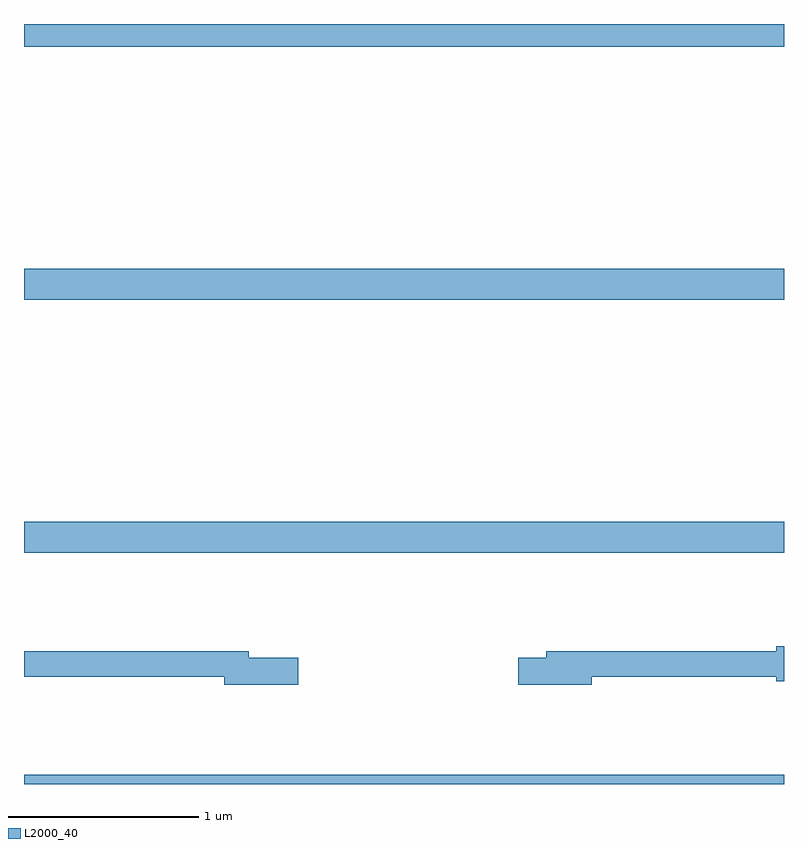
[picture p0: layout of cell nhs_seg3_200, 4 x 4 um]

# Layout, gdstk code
import gdstk
lib = gdstk.Library(unit=1e-6, precision=1e-09)
def R(c, l, rs):  # rectangles x0, y0, x1, y1
    for r in rs: c.add(gdstk.rectangle(r[:2], r[2:], *l))
def P(c, l, *ps):  # polygons
    for p in ps: c.add(gdstk.Polygon(p, *l))
L2000_40 = (2000, 40)

nhs_seg3_200 = lib.new_cell('nhs_seg3_200')
R(nhs_seg3_200, L2000_40, [(121,666.4,125,666.448), (121,667.616,125,667.78), (121,668.948,125,669.112), (121,670.28,125,670.4)])
P(nhs_seg3_200, L2000_40, [(123.988,666.964),(124.958,666.964),(124.958,666.941),(125,666.941),(125,667.124),(124.958,667.124),(124.958,667.1),(123.749,667.1),(123.749,667.064),(123.6,667.064),(123.6,666.922),(123.988,666.922)],
  [(122.443,667.064),(122.182,667.064),(122.182,667.1),(121,667.1),(121,666.964),(122.054,666.964),(122.054,666.922),(122.443,666.922)])

lib.write_gds('nhs_seg3_200.gds')
